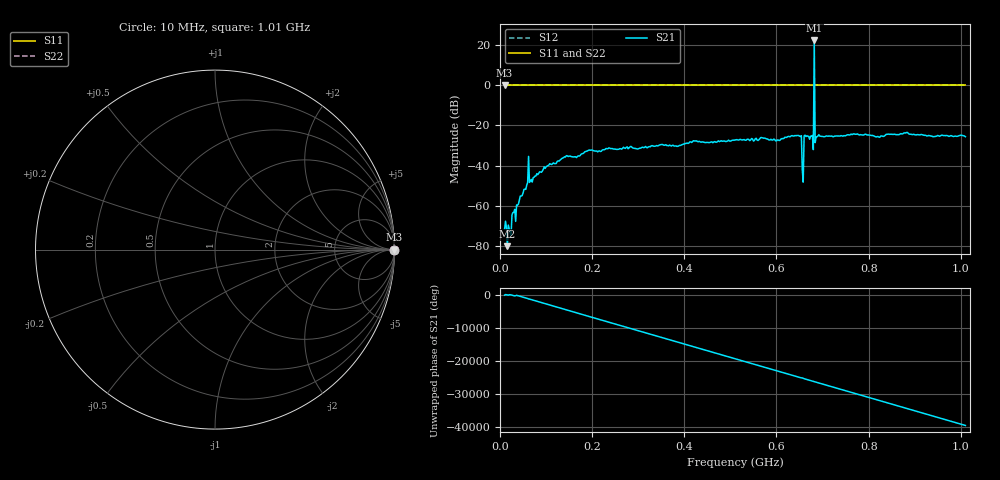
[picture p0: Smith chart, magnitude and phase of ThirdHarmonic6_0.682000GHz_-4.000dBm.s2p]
! 8/15/2025 10:44:16 PM
! C:\ANRITSUVNA\TEMP\TEMP.S2P
! CHANNEL.1
! TR.MEASUREMENT
! RAW.DATA
! RF.CORRECTION.OFF
! AVERAGING.OFF
! IF.BANDWIDTH: 5KHZ
! SWEEPTYPE:  FREQ.SWEEP(Linear)
! Reference Plane Port Info
! PORT:  PORT1  PORT2
! DISTANCE:  0  m  0  m
! TIME:  0  s  0  s
! PHASE.OFFSET:  0  deg.  0  deg.
! LOSS:  0  dB  0  dB
! REF.LOSS:  0  dB  0  dB
! REF.FREQ:  0  Hz  0  Hz
! Power Info
! POWER:  -20  dBm  -20  dBm
! EFF.POWER:  -20  dBm  -20  dBm
! SOURCE.ATTEN:  0  dB  0  dB
! TEST.ATTEN:  0  dB  0  dB
# GHZ S RI R 50.0
! FREQ.GHZ  S11RE  S11IM  S21RE  S21IM  S12RE  S12IM  S22RE  S22IM
!; PortSelection: Port_12
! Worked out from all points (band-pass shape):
!   501 points, 10 MHz to 1.01 GHz, reference 50 ohm
!   highest |S21| = 22.16 dB at 682 MHz (marker M1); lowest = -80.1 dB at 16 MHz (marker M2)
!   |S21| within 3 dB of the highest: 681.8894 MHz to 682.1181 MHz (228.7 kHz wide, 0.0335 % of centre)
!   lowest |S11| = 0.0 dB at 10 MHz (marker M3)
!   |S11| at or under -10 dB: nowhere
!   |S22| runs from 0.0 to 0.0 dB; largest |S21 - S12| = 12
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0.01  1 0  -0.000126 -0.000232  1 0  1 0
0.016  1 0  5.33e-05 -8.34e-05  1 0  1 0
0.02  1 0  0.000267 -8.9e-06  1 0  1 0
0.03  1 0  0.000241 0.000642  1 0  1 0
0.064  1 0  -0.00264 0.00274  1 0  1 0
0.068  1 0  0.00403 -0.00203  1 0  1 0
0.106  1 0  -0.00717 -0.00731  1 0  1 0
0.178  1 0  -0.0192 -0.0042  1 0  1 0
0.344  1 0  0.0304 -0.00716  1 0  1 0
0.51  1 0  -0.0398 0.0163  1 0  1 0
0.602  1 0  0.0199 0.0385  1 0  1 0
0.65  1 0  0.0143 -0.0519  1 0  1 0
0.654  1 0  -0.0321 0.0448  1 0  1 0
0.66  1 0  -0.0227 -0.0497  1 0  1 0
0.664  1 0  0.00936 0.0514  1 0  1 0
0.676  1 0  0.0408 -0.0346  1 0  1 0
0.678  1 0  -0.0288 -0.0477  1 0  1 0
0.682  1 0  11.45 5.759  1 0  1 0
0.686  1 0  0.00456 -0.0514  1 0  1 0
0.688  1 0  -0.0499 -0.0141  1 0  1 0
0.844  1 0  0.0477 0.0366  1 0  1 0
1.01  1 0  -0.0511 -0.0091  1 0  1 0
